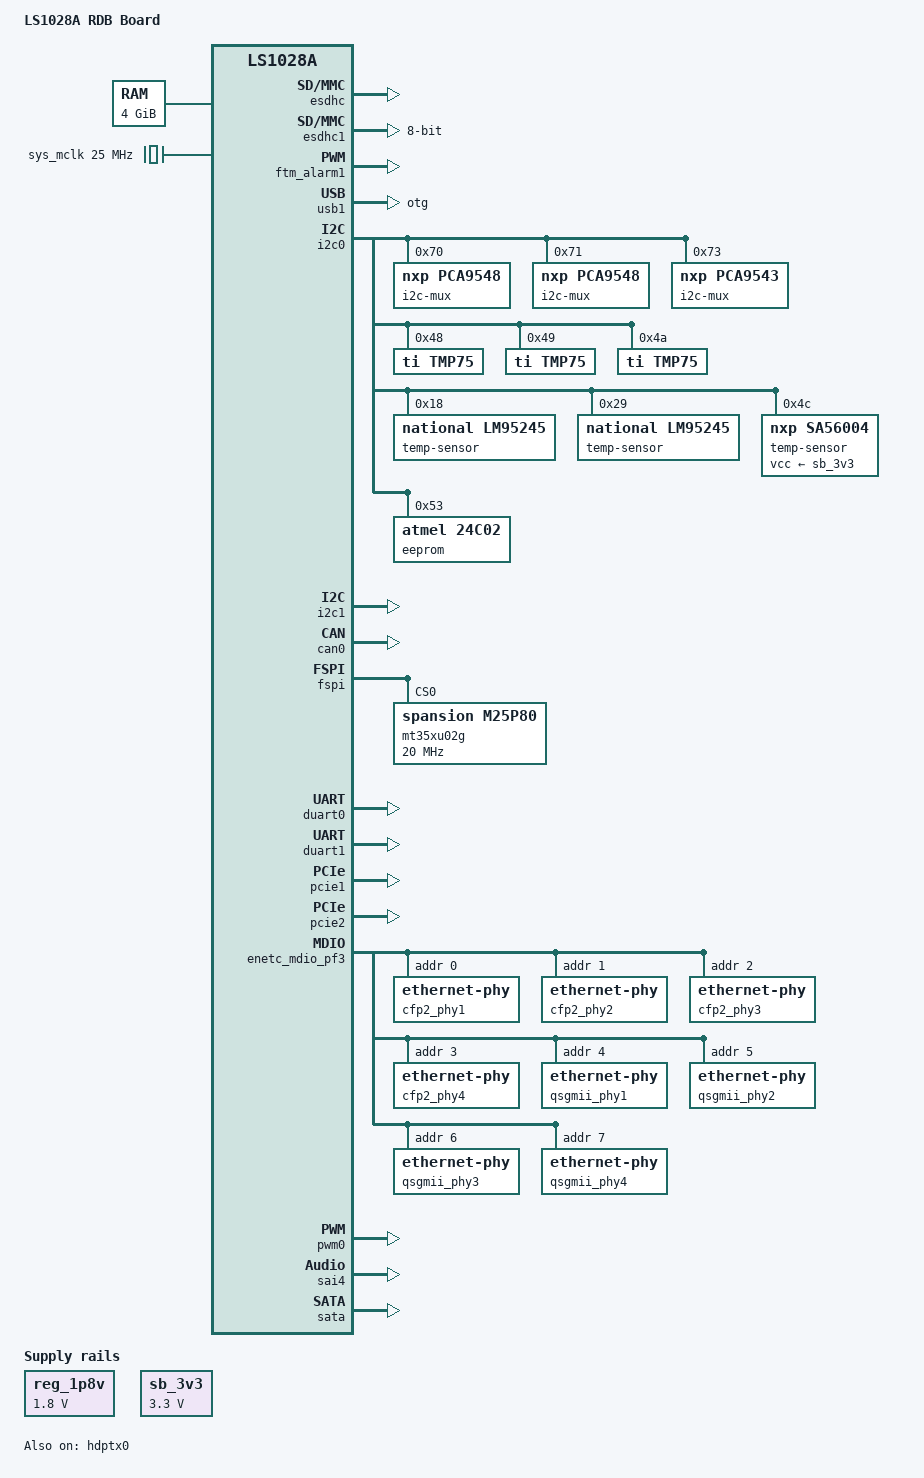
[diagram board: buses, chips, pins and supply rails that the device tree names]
// SPDX-License-Identifier: (GPL-2.0+ OR MIT)
/*
 * Device Tree file for NXP LS1028A RDB Board.
 *
 * Copyright 2018-2019 NXP
 *
 * Harninder Rai <harninder.rai@nxp.com>
 *
 */

/dts-v1/;
#include "fsl-ls1028a.dtsi"

/ {
	model = "LS1028A RDB Board";
	compatible = "fsl,ls1028a-rdb", "fsl,ls1028a";

	aliases {
		crypto = &crypto;
		serial0 = &duart0;
		serial1 = &duart1;
	};

	chosen {
		stdout-path = "serial0:115200n8";
	};

	memory@80000000 {
		device_type = "memory";
		reg = <0x0 0x80000000 0x1 0x0000000>;
	};

	sys_mclk: clock-mclk {
		compatible = "fixed-clock";
		#clock-cells = <0>;
		clock-frequency = <25000000>;
	};

	reg_1p8v: regulator-1p8v {
		compatible = "regulator-fixed";
		regulator-name = "1P8V";
		regulator-min-microvolt = <1800000>;
		regulator-max-microvolt = <1800000>;
		regulator-always-on;
	};

	sb_3v3: regulator-sb3v3 {
		compatible = "regulator-fixed";
		regulator-name = "3v3_vbus";
		regulator-min-microvolt = <3300000>;
		regulator-max-microvolt = <3300000>;
		regulator-boot-on;
		regulator-always-on;
	};

/*	sound {
		compatible = "simple-audio-card";
		simple-audio-card,format = "i2s";
		simple-audio-card,widgets =
			"Microphone", "Microphone Jack",
			"Headphone", "Headphone Jack",
			"Speaker", "Speaker Ext",
			"Line", "Line In Jack";
		simple-audio-card,routing =
			"MIC_IN", "Microphone Jack",
			"Microphone Jack", "Mic Bias",
			"LINE_IN", "Line In Jack",
			"Headphone Jack", "HP_OUT",
			"Speaker Ext", "LINE_OUT";

		simple-audio-card,cpu {
			sound-dai = <&sai4>;
			frame-master;
			bitclock-master;
		};

		simple-audio-card,codec {
			sound-dai = <&sgtl5000>;
			frame-master;
			bitclock-master;
			system-clock-frequency = <25000000>;
		};
	};*/
};

&esdhc {
	sd-uhs-sdr104;
	sd-uhs-sdr50;
	sd-uhs-sdr25;
	sd-uhs-sdr12;
	status = "okay";
};

&esdhc1 {
	mmc-hs200-1_8v;
	mmc-hs400-1_8v;
	bus-width = <8>;
	status = "okay";
};

&ftm_alarm1 {
	status = "okay";
};

&usb1 {
	dr_mode = "otg";
};

&i2c0 {
	status = "okay";
	i2c-mux@70 {
		compatible = "nxp,pca9548";
		reg = <0x70>;
		#address-cells = <1>;
		#size-cells = <0>;
		i2c-mux-idle-disconnect;

		i2c@0 {
			/* QSFP28 #1 */
			#address-cells = <1>;
			#size-cells = <0>;
			reg = <0>;
		};

		i2c@1 {
			/* QSFP28 #2 */
			#address-cells = <1>;
			#size-cells = <0>;
			reg = <1>;
		};

		i2c@2 {
			/* QSFP28 #3 */
			#address-cells = <1>;
			#size-cells = <0>;
			reg = <2>;
		};

		i2c@3 {
			/* QSFP28 #4 */
			#address-cells = <1>;
			#size-cells = <0>;
			reg = <3>;
		};

		i2c@4 {
			/* QSFP28 #5 */
			#address-cells = <1>;
			#size-cells = <0>;
			reg = <4>;
		};

		i2c@5 {
			/* QSFP28 #6 */
			#address-cells = <1>;
			#size-cells = <0>;
			reg = <5>;
		};

		i2c@6 {
			/* QSFP28 #7 */
			#address-cells = <1>;
			#size-cells = <0>;
			reg = <6>;
		};

		i2c@7 {
			/* QSFP28 #8 */
			#address-cells = <1>;
			#size-cells = <0>;
			reg = <7>;
		};
	};

	i2c-mux@71 {
		compatible = "nxp,pca9548";
		reg = <0x71>;
		#address-cells = <1>;
		#size-cells = <0>;
		i2c-mux-idle-disconnect;

		i2c@0 {
			/* QSFP28 #1 */
			#address-cells = <1>;
			#size-cells = <0>;
			reg = <0>;
		};

		i2c@1 {
			/* QSFP28 #2 */
			#address-cells = <1>;
			#size-cells = <0>;
			reg = <1>;
		};

		i2c@2 {
			/* QSFP28 #3 */
			#address-cells = <1>;
			#size-cells = <0>;
			reg = <2>;
		};

		i2c@3 {
			/* QSFP28 #4 */
			#address-cells = <1>;
			#size-cells = <0>;
			reg = <3>;
		};

		i2c@4 {
			/* QSFP28 #5 */
			#address-cells = <1>;
			#size-cells = <0>;
			reg = <4>;
		};

		i2c@5 {
			/* QSFP28 #6 */
			#address-cells = <1>;
			#size-cells = <0>;
			reg = <5>;
		};

		i2c@6 {
			/* QSFP28 #7 */
			#address-cells = <1>;
			#size-cells = <0>;
			reg = <6>;
		};

		i2c@7 {
			/* QSFP28 #8 */
			#address-cells = <1>;
			#size-cells = <0>;
			reg = <7>;
		};
	};


	i2c-mux@73 {
                compatible = "nxp,pca9543";
                reg = <0x73>;
                #address-cells = <1>;
                #size-cells = <0>;
                i2c-mux-idle-disconnect;

                i2c@0 {
                        /* SFP #1 */
                        #address-cells = <1>;
                        #size-cells = <0>;
                        reg = <0>;
                };

                i2c@1 {
                        /* SFP #2 */
                        #address-cells = <1>;
                        #size-cells = <0>;
                        reg = <1>;
                };
	};

	tmp75@48 {
		compatible = "ti,tmp75";
		reg = <0x48>;
	};

	tmp75@49 {
		compatible = "ti,tmp75";
		reg = <0x49>;
	};
	
	tmp75@4a {
		compatible = "ti,tmp75";
		reg = <0x4a>;
	};
	
	temp-sensor@18 {
 		compatible = "national,lm95245";
		reg = <0x18>;
	};

	temp-sensor@29 {
 		compatible = "national,lm95245";
		reg = <0x29>;
	};
	temp-sensor@4c {
		compatible = "nxp,sa56004";
		reg = <0x4c>;
		vcc-supply = <&sb_3v3>;
	};
	eeprom@53 {
		compatible = "atmel,24c02";
		reg = <0x53>;
		/*address-bits = <8>;
		page-size = <8>;
		size = <256>;
		read-only;*/
	};
};

&i2c1 {
        status = "okay";
};

&can0 {
	status = "okay";

	can-transceiver {
		max-bitrate = <5000000>;
	};
};

&fspi {
	status = "okay";
	mt35xu02g: flash@0 {
		compatible = "spansion,m25p80";
		#address-cells = <1>;
		#size-cells = <1>;
		m25p,fast-read;
		spi-max-frequency = <20000000>;
		reg = <0>;
		/* The following setting enables 1-1-8 (CMD-ADDR-DATA) mode */
		spi-rx-bus-width = <8>; /* 8 SPI Rx lines */
		spi-tx-bus-width = <1>; /* 1 SPI Tx line */
	};
};

&duart0 {
	status = "okay";
};

&duart1 {
	status = "okay";
};

&pcie1	{
	status = "okay";
};

&pcie2	{
	status = "okay";
};

&enetc_port0 {
	//phy-handle = <&sgmii_phy0>;
	//phy-connection-type = "sgmii";
	status = "disabled";
	//mdio {
	//	#address-cells = <1>;
	//	#size-cells = <0>;
	//	sgmii_phy0: ethernet-phy@2 {
	//		reg = <0x2>;
	//	};
	//};
	//status = "disabled";
};

&enetc_port1 {
	status = "disabled";
};

&enetc_mdio_pf3 {
	cfp2_phy1: ethernet-phy@0 {
                reg = <0x0>;
        };

	cfp2_phy2: ethernet-phy@1 {
                reg = <0x1>;
        };

	cfp2_phy3: ethernet-phy@2 {
                reg = <0x2>;
        };

	cfp2_phy4: ethernet-phy@3 {
                reg = <0x3>;
        };

	qsgmii_phy1: ethernet-phy@4 {
                reg = <0x4>;
        };

        qsgmii_phy2: ethernet-phy@5 {
                reg = <0x5>;
        };

        qsgmii_phy3: ethernet-phy@6 {
                reg = <0x6>;
        };

        qsgmii_phy4: ethernet-phy@7 {
                reg = <0x7>;
        };
};


/* l2switch ports */

&mscc_felix_ports {
	port@0 {
		status = "okay";
		phy-handle = <&qsgmii_phy1>;
		phy-mode = "qsgmii";
		managed = "in-band-status";
	};

	port@1 {
		status = "okay";
		phy-handle = <&qsgmii_phy2>;
		phy-mode = "qsgmii";
		managed = "in-band-status";
	};

	port@2 {
		status = "okay";
		phy-handle = <&qsgmii_phy3>;
		phy-mode = "qsgmii";
		managed = "in-band-status";
	};

	port@3 {
		status = "okay";
		phy-handle = <&qsgmii_phy4>;
		phy-mode = "qsgmii";
		managed = "in-band-status";
	};
};

&pwm0 {
	status = "okay";
};

&sai4 {
	status = "okay";
};

&sata {
	status = "okay";
};

&hdptx0 {
	lane-mapping = <0x4e>;
	status = "okay";
};
